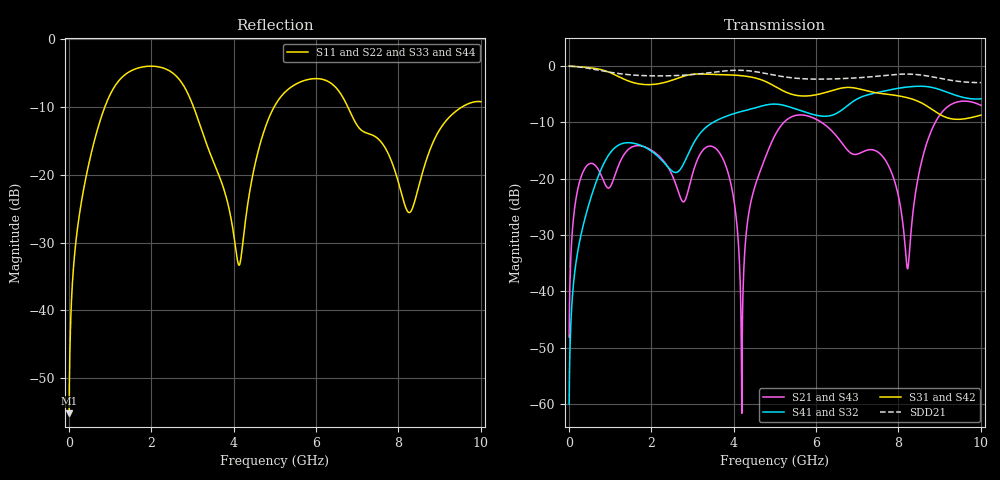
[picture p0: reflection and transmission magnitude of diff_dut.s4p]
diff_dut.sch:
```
<Qucs Schematic 0.0.19>
<Properties>
  <View=0,-60,1406,800,0.751315,0,0>
  <Grid=10,10,1>
  <DataSet=diff_dut.dat>
  <DataDisplay=diff_dut.dpl>
  <OpenDisplay=1>
  <Script=diff_dut.m>
  <RunScript=0>
  <showFrame=0>
  <FrameText0=Titre>
  <FrameText1=Auteur :>
  <FrameText2=Date :>
  <FrameText3=Version :>
</Properties>
<Symbol>
</Symbol>
<Components>
  <Pac P2 1 240 310 18 -26 0 1 "2" 1 "50 Ohm" 1 "0 dBm" 0 "1 GHz" 0 "26.85" 0>
  <GND * 1 240 340 0 0 0 0>
  <Pac P1 1 240 170 18 -26 0 1 "1" 1 "50 Ohm" 1 "0 dBm" 0 "1 GHz" 0 "26.85" 0>
  <GND * 1 240 200 0 0 0 0>
  <.SP SP1 1 240 490 0 65 0 0 "lin" 1 "10 MHz" 1 "10 GHz" 1 "1000" 1 "no" 0 "1" 0 "2" 0 "no" 0 "no" 0>
  <SUBST Subst1 1 510 530 -30 24 0 0 "4.413" 1 "1.51 mm" 1 "50 um" 1 "0.0182" 1 "1.712e-8" 1 "0.15e-6" 1>
  <MCOUPLED MS1 1 490 210 -30 88 0 0 "Subst1" 1 "2.05 mm" 1 "20 mm" 1 "1mm" 1 "Kirschning" 1 "Kirschning" 1 "26.85" 0>
  <Eqn Eqn1 1 670 510 -30 16 0 0 "S11_dB=dB(S[1,1])" 1 "S41_dB=dB(S[4,1])" 1 "yes" 0>
  <MCOUPLED MS2 1 670 210 -30 88 0 0 "Subst1" 1 "6.15 mm" 1 "20 mm" 1 "1 mm" 1 "Kirschning" 1 "Kirschning" 1 "26.85" 0>
  <Pac P4 1 1080 310 18 -26 0 1 "4" 1 "50 Ohm" 1 "0 dBm" 0 "1 GHz" 0 "26.85" 0>
  <GND * 1 1080 340 0 0 0 0>
  <Pac P3 1 1080 170 18 -26 0 1 "3" 1 "50 Ohm" 1 "0 dBm" 0 "1 GHz" 0 "26.85" 0>
  <GND * 1 1080 200 0 0 0 0>
  <MCOUPLED MS3 1 850 210 -30 88 0 0 "Subst1" 1 "2.05 mm" 1 "20 mm" 1 "1 mm" 1 "Kirschning" 1 "Kirschning" 1 "26.85" 0>
</Components>
<Wires>
  <240 140 460 140 "" 0 0 0 "">
  <460 140 460 180 "" 0 0 0 "">
  <460 240 460 280 "" 0 0 0 "">
  <240 280 460 280 "" 0 0 0 "">
  <880 140 880 180 "" 0 0 0 "">
  <880 140 1080 140 "" 0 0 0 "">
  <880 240 880 280 "" 0 0 0 "">
  <880 280 1080 280 "" 0 0 0 "">
  <520 180 640 180 "" 0 0 0 "">
  <700 180 820 180 "" 0 0 0 "">
  <520 240 640 240 "" 0 0 0 "">
  <700 240 820 240 "" 0 0 0 "">
</Wires>
<Diagrams>
</Diagrams>
<Paintings>
</Paintings>
```
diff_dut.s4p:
# HZ S RI R 50
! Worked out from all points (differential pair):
!   1000 points, 10 MHz to 10 GHz, reference 50 ohm
!   strongest paths, dB at 10 MHz, 2.51 GHz, 5.01 GHz, 7.51 GHz, 10 GHz:
!     S31: 0.0, -2.5, -3.6, -4.8, -8.7
!     S42: 0.0, -2.5, -3.6, -4.8, -8.7
!     S41: -60.0, -18.6, -6.7, -4.7, -5.8
!     S32: -60.0, -18.6, -6.7, -4.7, -5.8
!     S21: -48.1, -19.4, -12.2, -15.3, -7.0
!     S43: -48.1, -19.4, -12.2, -15.3, -7.0
!   taken as a pair (ports 1,2 in; 3,4 out), SDD21 dB: 0.0, -1.7, -1.6, -1.8, -2.9
!   lowest |S11| = -55.2 dB at 10 MHz (marker M1), VSWR 1.00, Z = 50 - j0.174 ohm
!   |S11| at or under -10 dB: start of sweep to 876.8 MHz; 3.028 GHz to 4.984 GHz (1.956 GHz wide, 48.8 % of centre); 6.772 GHz to 9.542 GHz (2.77 GHz wide, 34 % of centre)
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1e7  -7.02e-05 -0.00174  0.000174 0.00393  0.9992 -0.0245  1.46e-05 -0.000999
     0.000174 0.00393  -7.02e-05 -0.00174  1.46e-05 -0.000999  0.9992 -0.0245
     0.9992 -0.0245  1.46e-05 -0.000999  -7.02e-05 -0.00174  0.000174 0.00393
     1.46e-05 -0.000999  0.9992 -0.0245  0.000174 0.00393  -7.02e-05 -0.00174
1.42e9  0.1831 0.5314  0.1723 0.0443  -0.7214 0.1863  0.1208 0.1704
        0.1723 0.0443  0.1831 0.5314  0.1208 0.1704  -0.7214 0.1863
        -0.7214 0.1863  0.1208 0.1704  0.1831 0.5314  0.1723 0.0443
        0.1208 0.1704  -0.7214 0.1863  0.1723 0.0443  0.1831 0.5314
1e10  0.3311 0.1  0.2898 -0.3418  -0.2408 0.2773  0.4695 0.2065
      0.2898 -0.3418  0.3311 0.1  0.4695 0.2065  -0.2408 0.2773
      -0.2408 0.2773  0.4695 0.2065  0.3311 0.1  0.2898 -0.3418
      0.4695 0.2065  -0.2408 0.2773  0.2898 -0.3418  0.3311 0.1
